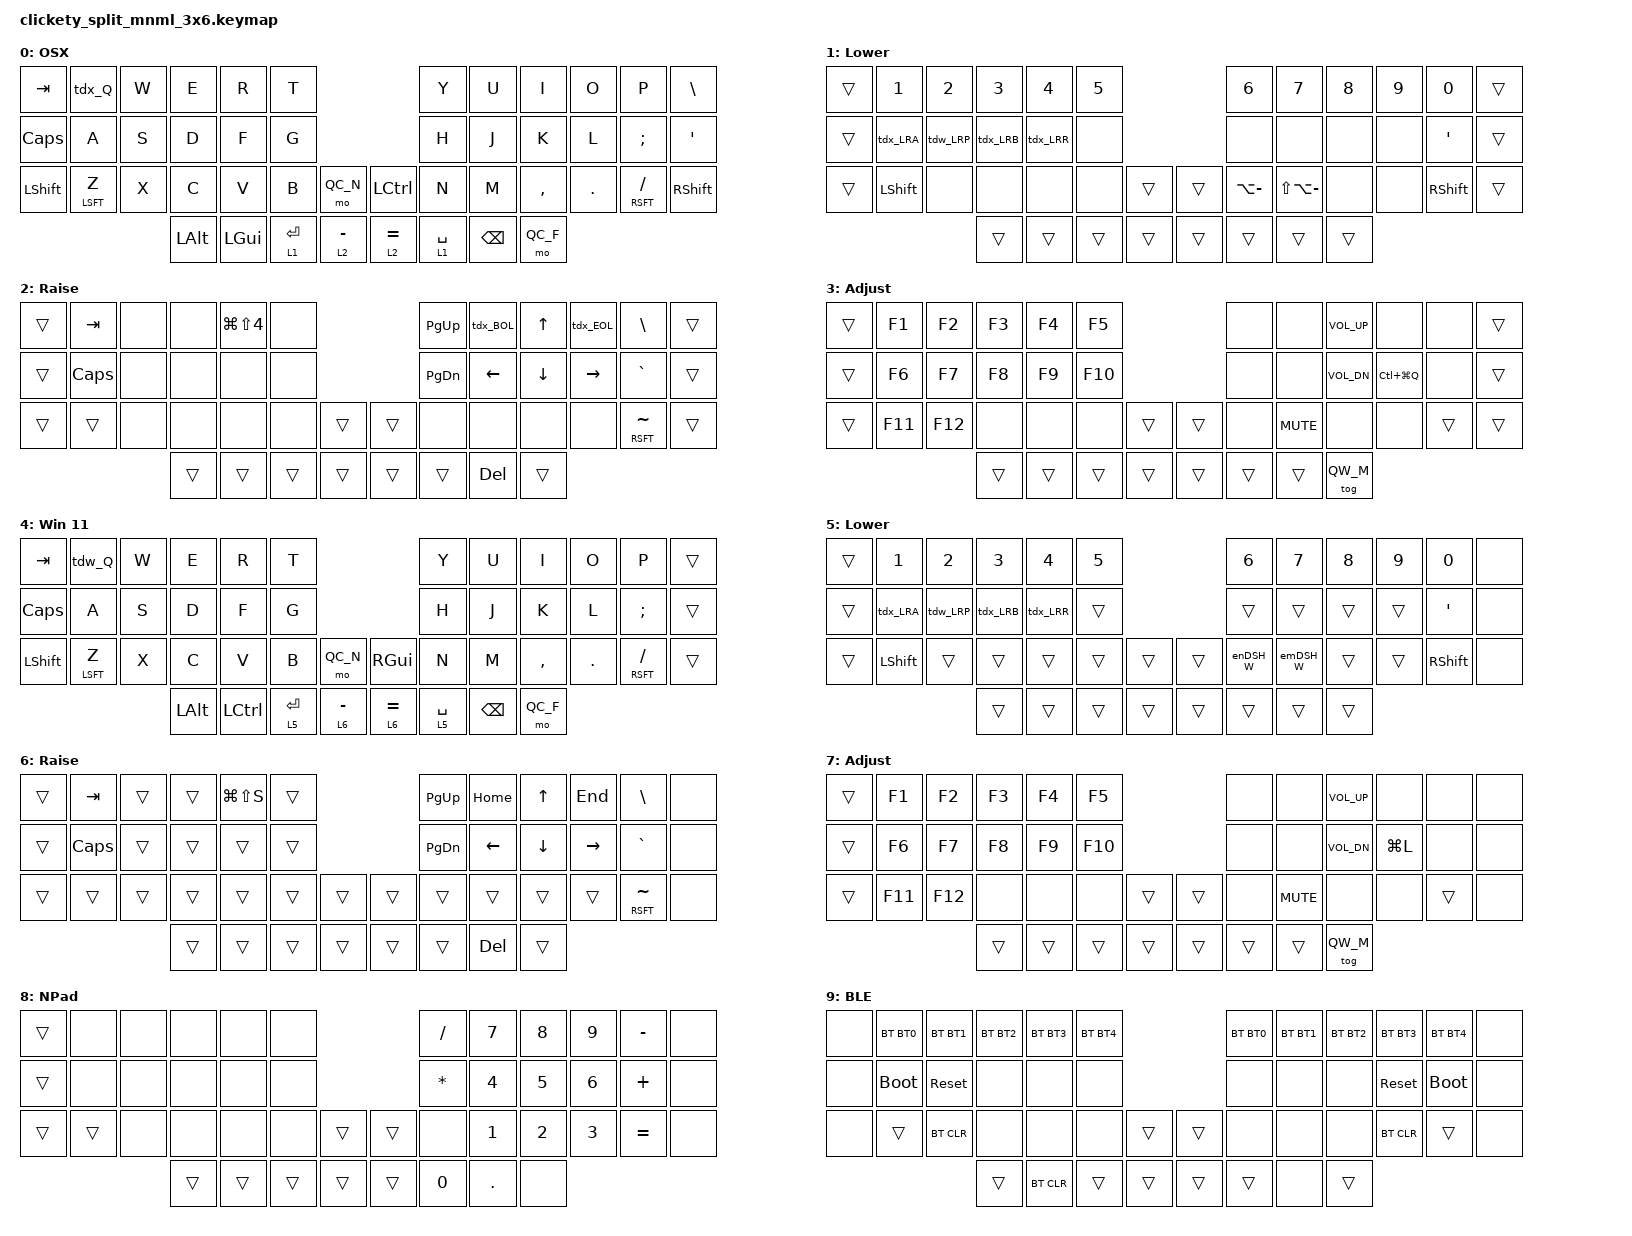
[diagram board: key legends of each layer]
/*
 * Copyright (c) 2025 Clickety Split Ltd.
 * SPDX-License-Identifier: MIT
 */

#include <behaviors.dtsi>
#include <dt-bindings/zmk/outputs.h>
#include <dt-bindings/zmk/keys.h>
#include <dt-bindings/zmk/bt.h>

// Layers
#define QW_M        4 // Main
#define QW_L        5 // Lower
#define QW_R        6 // Raise
#define QW_A        7 // Adjust

#define QX_M        0 // Main
#define QX_L        1 // Lower
#define QX_R        2 // Raise
#define QX_A        3 // Adjust

#define QC_N        8 // Number Pad
#define QC_F        9 // Firmware


// Short versions
#define WIN_SC      LG(LS(S))
#define OSX_SC      LG(LS(N4))

#define enDSH_X     LA(MINUS)
#define emDSH_X     LS(LA(MINUS))

#define BOOTLDR     &bootloader
#define SYSRESET    &sys_reset

#define VOLUP       C_VOL_UP
#define VOLDN       C_VOL_DN
#define VOLMT       C_MUTE

#define LOCK_W      LG(L)
#define LOCK_X      LC(LG(Q))

#define BT0         BT_SEL 0
#define BT1         BT_SEL 1
#define BT2         BT_SEL 2
#define BT3         BT_SEL 3
#define BT4         BT_SEL 4


/ {
    conditional_layers {
        compatible = "zmk,conditional-layers";
        adjust_win_layer {
            if-layers = <QW_L QW_R>;
            then-layer = <QW_A>;
        };

        adjust_osx_layer {
            if-layers = <QX_L QX_R>;
            then-layer = <QX_A>;
        };
    };

    combos {
        compatible = "zmk,combos";

        combo_win_esc {
            timeout-ms = <50>;
            key-positions = <0 1>;
            layers = <QW_M>;
            bindings = <&kp ESC>;
        };

        combo_osx_esc {
            timeout-ms = <50>;
            key-positions = <0 1>;
            layers = <QX_M>;
            bindings = <&kp ESC>;
        };
    };

    macros {
        enDSH_W: en_Dash {
            compatible = "zmk,behavior-macro";
            #binding-cells = <0>;
            wait-ms = <20>;
            tap-ms = <20>;
            bindings
                = <&macro_press   &kp LALT>
                , <&macro_tap     &kp KP_N0 &kp KP_N1 &kp KP_N5 &kp KP_N0>
                , <&macro_release &kp LALT>
                ;
        };

        emDSH_W: em_Dash {
            compatible = "zmk,behavior-macro";
            #binding-cells = <0>;
            wait-ms = <20>;
            tap-ms = <20>;
            bindings
                = <&macro_press   &kp LALT>
                , <&macro_tap     &kp KP_N0 &kp KP_N1 &kp KP_N5 &kp KP_N1>
                , <&macro_release &kp LALT>
                ;
        };
    };

    behaviors {
        tdw_Q: tap_dance_0 {
            compatible = "zmk,behavior-tap-dance";
            #binding-cells = <0>;
            tapping-term-ms = <200>;
            bindings = <&kp Q>, <&kp LA(F4)>;
        };

        tdx_Q: tap_dance_1 {
            compatible = "zmk,behavior-tap-dance";
            #binding-cells = <0>;
            tapping-term-ms = <200>;
            bindings = <&kp Q>, <&kp LG(Q)>;
        };

        tdw_LRP: tap_dance_2 {
            compatible = "zmk,behavior-tap-dance";
            #binding-cells = <0>;
            tapping-term-ms = <200>;
            bindings = <&kp LPAR>, <&kp RPAR>;
        };

        tdx_LRB: tap_dance_3 {
            compatible = "zmk,behavior-tap-dance";
            #binding-cells = <0>;
            tapping-term-ms = <200>;
            bindings = <&kp LBKT>, <&kp RBKT>;
        };

        tdx_LRR: tap_dance_4 {
            compatible = "zmk,behavior-tap-dance";
            #binding-cells = <0>;
            tapping-term-ms = <200>;
            bindings = <&kp LBRC>, <&kp RBRC>;
        };

        tdx_LRA: tap_dance_5 {
            compatible = "zmk,behavior-tap-dance";
            #binding-cells = <0>;
            tapping-term-ms = <200>;
            bindings = <&kp LT>, <&kp GT>;
        };

        tdx_BOL: tap_dance_6 {
            compatible = "zmk,behavior-tap-dance";
            #binding-cells = <0>;
            tapping-term-ms = <200>;
            bindings = <&kp LG(LEFT)>, <&kp HOME>;
        };

        tdx_EOL: tap_dance_7 {
            compatible = "zmk,behavior-tap-dance";
            #binding-cells = <0>;
            tapping-term-ms = <200>;
            bindings = <&kp LG(RIGHT)>, <&kp END>;
        };
    };

    keymap {
        compatible = "zmk,keymap";

        default_osx_layer {
            display-name = " OSX";
            bindings = <
                &kp TAB    &tdx_Q     &kp W      &kp E      &kp R      &kp T                            &kp Y      &kp U      &kp I      &kp O      &kp P          &kp BSLH
                &kp CAPS   &kp A      &kp S      &kp D      &kp F      &kp G                            &kp H      &kp J      &kp K      &kp L      &kp SEMI       &kp QUOT
                &kp LSHFT  &mt LSFT Z &kp X      &kp C      &kp V      &kp B     &mo QC_N    &kp LCTRL  &kp N      &kp M      &kp COMMA  &kp DOT    &mt RSFT FSLH  &kp RSHFT
                                             &kp LALT   &kp LGUI   &lt 1 RET  &lt 2 MINUS    &lt 2 EQUAL  &lt 1 SPACE  &kp BSPC   &mo QC_F
            >;
        };

        lower_osx_layer {
            display-name = " Lower";
            bindings = <
                &trans     &kp N1     &kp N2     &kp N3     &kp N4     &kp N5                           &kp N6      &kp N7      &kp N8     &kp N9     &kp N0     &trans
                &trans     &tdx_LRA   &tdw_LRP   &tdx_LRB   &tdx_LRR   &none                            &none       &none       &none      &none      &kp QUOT   &trans
                &trans     &kp LSHFT  &none      &none      &none      &none      &trans     &trans     &kp enDSH_X &kp emDSH_X &none      &none      &kp RSHFT  &trans
                                                 &trans     &trans     &trans     &trans     &trans     &trans      &trans      &trans
            >;
        };

        raise_osx_layer {
            display-name = " Raise";
            bindings = <
                &trans     &kp TAB    &none      &none      &kp OSX_SC &none                            &kp PG_UP  &tdx_BOL   &kp UP     &tdx_EOL   &kp BSLH        &trans
                &trans     &kp CAPS   &none      &none      &none      &none                            &kp PG_DN  &kp LEFT   &kp DOWN   &kp RIGHT  &kp GRAVE       &trans
                &trans     &trans     &none      &none      &none      &none      &trans     &trans     &none      &none      &none      &none      &mt RSFT TILDE  &trans
                                                 &trans     &trans     &trans     &trans     &trans     &trans     &kp DEL    &trans
            >;
        };

        adjust_osx_layer {
            display-name = " Adjust";
            bindings = <
                &trans     &kp F1     &kp F2     &kp F3     &kp F4     &kp F5                           &none      &none      &kp VOLUP   &none        &none    &trans
                &trans     &kp F6     &kp F7     &kp F8     &kp F9     &kp F10                          &none      &none      &kp VOLDN   &kp LOCK_X   &none    &trans
                &trans     &kp F11    &kp F12    &none      &none      &none      &trans     &trans     &none      &kp VOLMT  &none       &none        &trans   &trans
                                                 &trans     &trans     &trans     &trans     &trans     &trans     &trans     &tog QW_M
            >;
        };

        default_win_layer {
            display-name = " Win 11";
            bindings = <
                &kp TAB    &tdw_Q     &kp W      &kp E      &kp R      &kp T                            &kp Y      &kp U      &kp I      &kp O      &kp P          &trans
                &kp CAPS   &kp A      &kp S      &kp D      &kp F      &kp G                            &kp H      &kp J      &kp K      &kp L      &kp SEMI       &trans
                &kp LSHFT  &mt LSFT Z &kp X      &kp C      &kp V      &kp B     &mo QC_N    &kp RGUI   &kp N      &kp M      &kp COMMA  &kp DOT    &mt RSFT FSLH  &trans
                                             &kp LALT   &kp LCTRL  &lt 5 RET  &lt 6 MINUS    &lt 6 EQUAL  &lt 5 SPACE  &kp BSPC   &mo QC_F
            >;
        };

        lower_win_layer {
            display-name = " Lower";
            bindings = <
                &trans     &kp N1     &kp N2     &kp N3     &kp N4     &kp N5                           &kp N6     &kp N7     &kp N8     &kp N9     &kp N0      &none
                &trans     &tdx_LRA   &tdw_LRP   &tdx_LRB   &tdx_LRR   &trans                           &trans     &trans     &trans     &trans     &kp QUOT    &none
                &trans     &kp LSHFT  &trans     &trans     &trans     &trans     &trans     &trans     &enDSH_W   &emDSH_W   &trans     &trans     &kp RSHFT   &none
                                                 &trans     &trans     &trans     &trans     &trans     &trans     &trans     &trans
            >;
        };

        raise_win_layer {
            display-name = " Raise";
            bindings = <
                &trans     &kp TAB    &trans     &trans     &kp WIN_SC &trans                           &kp PG_UP  &kp HOME   &kp UP     &kp END    &kp BSLH        &none
                &trans     &kp CAPS   &trans     &trans     &trans     &trans                           &kp PG_DN  &kp LEFT   &kp DOWN   &kp RIGHT  &kp GRAVE       &none
                &trans     &trans     &trans     &trans     &trans     &trans     &trans     &trans     &trans     &trans     &trans     &trans     &mt RSFT TILDE  &none
                                                 &trans     &trans     &trans     &trans     &trans     &trans     &kp DEL    &trans
            >;
        };

        adjust_win_layer {
            display-name = " Adjust";
            bindings = <
                &trans     &kp F1     &kp F2     &kp F3     &kp F4     &kp F5                           &none      &none      &kp VOLUP  &none       &none      &none
                &trans     &kp F6     &kp F7     &kp F8     &kp F9     &kp F10                          &none      &none      &kp VOLDN  &kp LOCK_W  &none      &none
                &trans     &kp F11    &kp F12    &none      &none      &none      &trans     &trans     &none      &kp VOLMT  &none      &none       &trans     &none
                                                 &trans     &trans     &trans     &trans     &trans     &trans     &trans     &tog QW_M
            >;
        };

        numpad_layer {
            display-name = " NPad";
            bindings = <
                &trans     &none      &none      &none      &none      &none                            &kp SLASH  &kp N7     &kp N8     &kp N9     &kp MINUS   &none
                &trans     &none      &none      &none      &none      &none                            &kp ASTRK  &kp N4     &kp N5     &kp N6     &kp PLUS    &none
                &trans     &trans     &none      &none      &none      &none      &trans     &trans     &none      &kp N1     &kp N2     &kp N3     &kp EQUAL   &none
                                                 &trans     &trans     &trans     &trans     &trans     &kp N0     &kp DOT    &none
            >;
        };

        ble_layer {
            display-name = " BLE";
            bindings = <
                &none      &bt BT0    &bt BT1     &bt BT2    &bt BT3    &bt BT4                          &bt BT0    &bt BT1    &bt BT2    &bt BT3     &bt BT4   &none
                &none      BOOTLDR    SYSRESET    &none      &none      &none                            &none      &none      &none      SYSRESET    BOOTLDR   &none
                &none      &trans     &bt BT_CLR  &none      &none      &none      &trans     &trans     &none      &none      &none      &bt BT_CLR  &trans    &none
                                                  &trans     &bt BT_CLR &trans     &trans     &trans     &trans     &none      &trans
            >;
        };

    };
};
